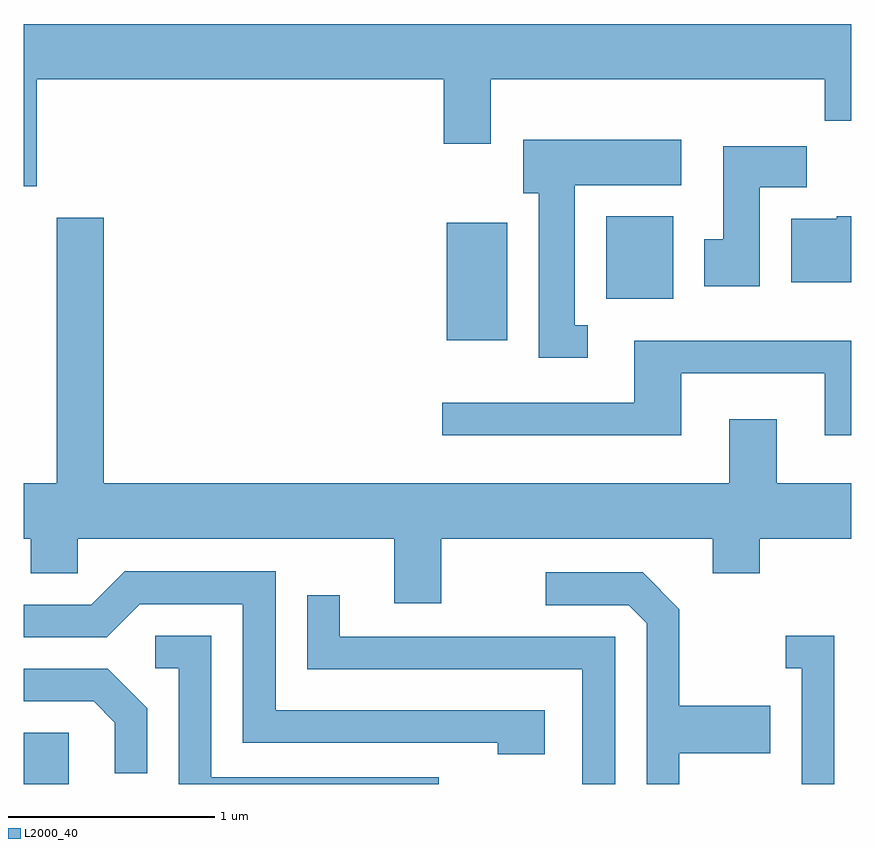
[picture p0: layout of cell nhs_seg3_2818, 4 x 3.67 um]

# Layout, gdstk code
import gdstk
lib = gdstk.Library(unit=1e-6, precision=1e-09)
def R(c, l, rs):  # rectangles x0, y0, x1, y1
    for r in rs: c.add(gdstk.rectangle(r[:2], r[2:], *l))
def P(c, l, *ps):  # polygons
    for p in ps: c.add(gdstk.Polygon(p, *l))
L2000_40 = (2000, 40)

nhs_seg3_2818 = lib.new_cell('nhs_seg3_2818')
R(nhs_seg3_2818, L2000_40, [(267.611,1175.892,267.829,1176.139), (269.656,1178.036,269.949,1178.604), (270.426,1178.236,270.749,1178.634)])
P(nhs_seg3_2818, L2000_40, [(267.674,1179.296),(269.641,1179.296),(269.641,1178.986),(269.869,1178.986),(269.869,1179.296),(271.481,1179.296),(271.481,1179.096),(271.611,1179.096),(271.611,1179.564),(267.611,1179.564),(267.611,1178.781),(267.674,1178.781)],
  [(270.338,1178.109),(270.274,1178.109),(270.274,1178.786),(270.789,1178.786),(270.789,1179.004),(270.026,1179.004),(270.026,1178.746),(270.101,1178.746),(270.101,1177.951),(270.338,1177.951)],
  [(271.169,1178.776),(271.394,1178.776),(271.394,1178.974),(270.991,1178.974),(270.991,1178.524),(270.901,1178.524),(270.901,1178.296),(271.169,1178.296)],
  [(271.611,1178.634),(271.54,1178.634),(271.54,1178.624),(271.321,1178.624),(271.321,1178.316),(271.611,1178.316)],
  [(269.629,1177.076),(270.941,1177.076),(270.941,1176.911),(271.169,1176.911),(271.169,1177.076),(271.611,1177.076),(271.611,1177.344),(271.249,1177.344),(271.249,1177.654),(271.021,1177.654),(271.021,1177.344),(267.999,1177.344),(267.999,1178.629),(267.771,1178.629),(267.771,1177.344),(267.611,1177.344),(267.611,1177.076),(267.646,1177.076),(267.646,1176.911),(267.874,1176.911),(267.874,1177.076),(269.401,1177.076),(269.401,1176.766),(269.629,1176.766)],
  [(270.789,1177.876),(271.481,1177.876),(271.481,1177.576),(271.611,1177.576),(271.611,1178.034),(270.561,1178.034),(270.561,1177.734),(269.633,1177.734),(269.633,1177.576),(270.789,1177.576)],
  [(270.129,1176.249),(268.829,1176.249),(268.829,1176.919),(268.099,1176.919),(267.939,1176.759),(267.611,1176.759),(267.611,1176.601),(268.012,1176.601),(268.172,1176.761),(268.671,1176.761),(268.671,1176.091),(269.901,1176.091),(269.901,1176.036),(270.129,1176.036)],
  [(270.779,1176.041),(271.219,1176.041),(271.219,1176.269),(270.779,1176.269),(270.779,1176.737),(270.602,1176.914),(270.133,1176.914),(270.133,1176.756),(270.534,1176.756),(270.621,1176.669),(270.621,1175.892),(270.779,1175.892)],
  [(270.469,1176.604),(269.139,1176.604),(269.139,1176.803),(268.981,1176.803),(268.981,1176.446),(270.311,1176.446),(270.311,1175.892),(270.469,1175.892)],
  [(271.529,1176.609),(271.293,1176.609),(271.293,1176.451),(271.371,1176.451),(271.371,1175.892),(271.529,1175.892)],
  [(269.618,1175.924),(268.519,1175.924),(268.519,1176.609),(268.248,1176.609),(268.248,1176.451),(268.361,1176.451),(268.361,1175.892),(269.618,1175.892)],
  [(268.209,1176.257),(268.017,1176.449),(267.611,1176.449),(267.611,1176.291),(267.949,1176.291),(268.051,1176.189),(268.051,1175.943),(268.209,1175.943)])

lib.write_gds('nhs_seg3_2818.gds')
